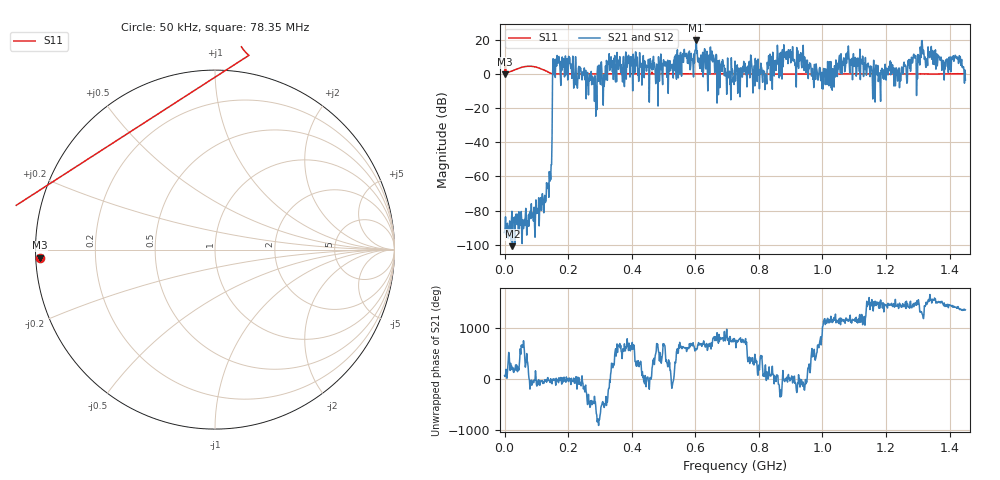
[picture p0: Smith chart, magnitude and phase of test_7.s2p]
! Created with skrf 1.11.0 (http://scikit-rf.org).
# Hz S RI R 50.0
!freq ReS11 ImS11 ReS21 ImS21 ReS12 ImS12 ReS22 ImS22
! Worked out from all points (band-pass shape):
!   1001 points, 50 kHz to 1.45 GHz, reference 50 ohm
!   highest |S21| = 19.62 dB at 603.2 MHz (marker M1); lowest = -100.9 dB at 24.7 MHz (marker M2)
!   |S21| within 3 dB of the highest: 602.4115 MHz to 603.7962 MHz (1.385 MHz wide, 0.23 % of centre); 1.311879 GHz to 1.314901 GHz (3.022 MHz wide, 0.23 % of centre) (the widest 2 of 5)
!   lowest |S11| = -0.2 dB at 50 kHz (marker M3), VSWR 84.03, Z = 0.595 - j1.14 ohm
!   |S11| at or under -10 dB: nowhere
!   |S22| runs from - to - dB; largest |S21 - S12| = 0
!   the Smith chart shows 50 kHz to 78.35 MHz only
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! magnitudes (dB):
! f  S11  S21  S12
! 50 kHz  -0.2  -92.8  -92.8
! 24.7 MHz  1.9  -100.9  -100.9
! 132 MHz  1.6  -63.7  -63.7
! 142.1 MHz  0.6  -62.9  -62.9
! 159.5 MHz  0.0  -2.1  -2.1
! 242.2 MHz  0.1  0.3  0.3
! 282.8 MHz  0.0  -16.1  -16.1
! 327.7 MHz  0.1  8.0  8.0
! 484.3 MHz  0.1  10.1  10.1
! 603.2 MHz  0.0  19.6  19.6
! 725 MHz  0.0  7.5  7.5
! 817.8 MHz  0.0  1.1  1.1
! 886 MHz  0.0  8.6  8.6
! 967.2 MHz  0.0  0.1  0.1
! 1.031 GHz  0.0  -9.5  -9.5
! 1.082 GHz  0.1  16.4  16.4
! 1.16 GHz  0.0  1.0  1.0
! 1.209 GHz  0.0  4.5  4.5
! 1.244 GHz  0.0  0.4  0.4
! 1.315 GHz  0.0  16.0  16.0
! 1.427 GHz  0.2  9.4  9.4
! 1.45 GHz  0.1  -3.6  -3.6
